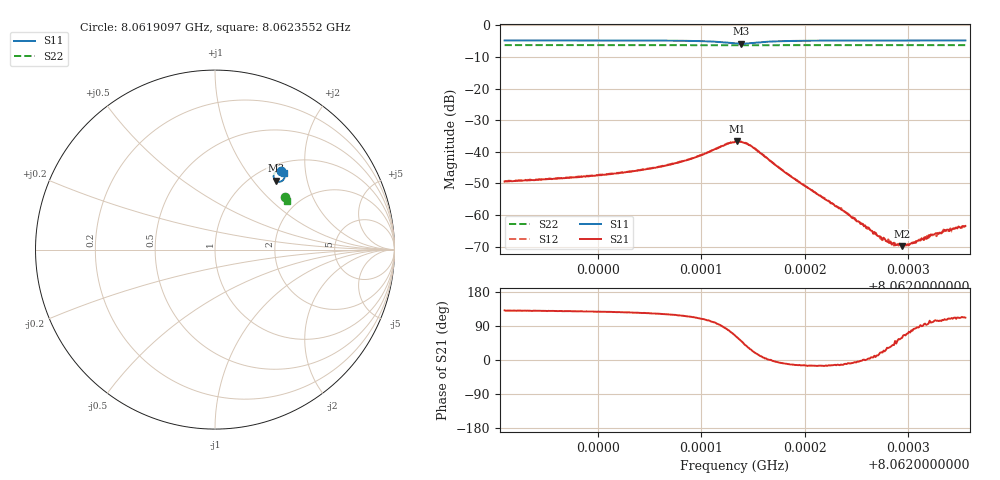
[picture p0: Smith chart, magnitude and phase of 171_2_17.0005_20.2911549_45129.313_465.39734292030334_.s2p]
#  HZ  S  RI  R  50.00
! Rohde & Schwarz Vector Network Analyzer
! Rohde-Schwarz,ZNB20-2Port,1311601062101988,3.16
! Created: UTC 3/20/2024, 10:59:45 PM
! freq[Hz]  re:S11  im:S11  re:S21  im:S21  re:S12  im:S12  re:S22  im:S22
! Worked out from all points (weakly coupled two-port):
!   401 points, 8.0619097 GHz to 8.0623552 GHz, reference 50 ohm
!   highest |S21| = -36.74 dB at 8.0621347 GHz (marker M1); lowest = -69.9 dB at 8.0622939 GHz (marker M2)
!   lowest |S11| = -5.8 dB at 8.062138 GHz (marker M3), VSWR 3.10, Z = 63 + j65.6 ohm
!   |S11| at or under -10 dB: nowhere
!   |S22| runs from -6.3 to -6.3 dB; largest |S21 - S12| = 0.0011
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8.06190969e9  0.3704 0.4406  -0.00222 0.00255  -0.00208 0.00272  0.3875 0.2933
8.0619843e9  0.3766 0.4349  -0.0025 0.00313  -0.00232 0.00334  0.3902 0.2893
8.06202663e9  0.3806 0.43  -0.00277 0.00384  -0.00257 0.00403  0.3917 0.2873
8.06205892e9  0.3845 0.4241  -0.00305 0.00487  -0.00278 0.0051  0.3928 0.2854
8.06209011e9  0.3881 0.4129  -0.00314 0.00706  -0.00272 0.00734  0.3939 0.2836
8.06213243e9  0.3525 0.3784  0.00612 0.013  0.00703 0.0127  0.393 0.2806
8.06213465e9  0.3464 0.3798  0.00743 0.0125  0.0082 0.012  0.3929 0.2806
8.062138e9  0.3382 0.3845  0.00907 0.0112  0.00979 0.0106  0.3926 0.2808
8.06214913e9  0.3267 0.411  0.0109 0.00487  0.0113 0.00425  0.393 0.2816
8.06218032e9  0.3525 0.4391  0.00472 -0.00079  0.00474 -0.0011  0.3954 0.2811
8.06220704e9  0.3647 0.4387  0.00235 -0.000631  0.00232 -0.000792  0.3969 0.2796
8.06223377e9  0.3714 0.4366  0.00124 -0.000301  0.00122 -0.000391  0.3979 0.2782
8.06227275e9  0.3774 0.4336  0.000433 0.000152  0.000413 9.9e-05  0.3993 0.2761
8.06228166e9  0.3784 0.4329  0.000301 0.000195  0.000329 0.000197  0.3997 0.2756
8.06228612e9  0.3789 0.4325  0.000281 0.000232  0.000239 0.000223  0.3999 0.2753
8.06229391e9  0.3798 0.4321  0.000168 0.000273  0.000185 0.000274  0.4 0.275
8.0623006e9  0.3804 0.4315  8.88e-05 0.00032  0.000135 0.000315  0.4003 0.2746
8.06231619e9  0.382 0.4305  -4.63e-05 0.000442  -4.78e-05 0.000439  0.4008 0.2739
8.06232064e9  0.3823 0.4302  -0.000107 0.000441  -4.81e-05 0.000478  0.4011 0.2735
8.06232955e9  0.3832 0.4295  -0.000113 0.000501  -9.64e-05 0.000493  0.4012 0.2732
8.06233512e9  0.3837 0.4293  -0.000177 0.000554  -0.000163 0.000538  0.4014 0.2729
8.06235517e9  0.3853 0.4279  -0.000249 0.000622  -0.000233 0.000621  0.4021 0.2719
